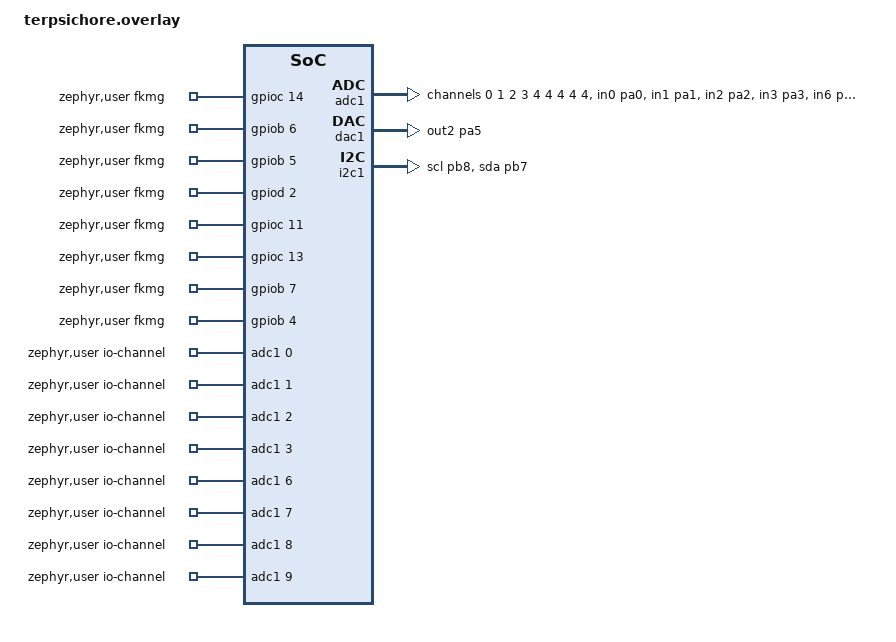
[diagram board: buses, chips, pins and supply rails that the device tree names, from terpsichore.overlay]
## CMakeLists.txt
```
# SPDX-License-Identifier: Apache-2.0

cmake_minimum_required(VERSION 3.20.0)

# Uncomment if you must specify the board here
set(BOARD fkmg_stm32f405)

# Set BOARD_ROOT to the parent directory of the 'boards' folder
list(APPEND BOARD_ROOT "/Users/marcrickenbach/fkmg-dev/Terpsichore")

set(DTC_OVERLAY_FILE "${CMAKE_CURRENT_SOURCE_DIR}/terpsichore.overlay")


find_package(Zephyr REQUIRED HINTS $ENV{ZEPHYR_BASE})

project(TERPSICHORE)

# Optimization flags based on build type
set(CMAKE_BUILD_TYPE Debug CACHE STRING "Choose the type of build.")
if(CMAKE_BUILD_TYPE MATCHES Debug)
    set(CMAKE_C_FLAGS "${CMAKE_C_FLAGS} -O0 -g" CACHE STRING "" FORCE)
elseif(CMAKE_BUILD_TYPE MATCHES Release)
    set(CMAKE_C_FLAGS "${CMAKE_C_FLAGS} -O3" CACHE STRING "" FORCE)
elseif(CMAKE_BUILD_TYPE MATCHES MinSizeRel)
    set(CMAKE_C_FLAGS "${CMAKE_C_FLAGS} -Os" CACHE STRING "" FORCE)
elseif(CMAKE_BUILD_TYPE MATCHES RelWithDebInfo)
    set(CMAKE_C_FLAGS "${CMAKE_C_FLAGS} -O2 -g" CACHE STRING "" FORCE)
endif()

# Explicitly list source files
set(app_sources
    src/main.c
)

target_sources(app PRIVATE ${app_sources})

# Main Include Directory
target_include_directories(app PRIVATE include)
```

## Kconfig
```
mainmenu "TERPSICHORE"

config TERPSICHORE_STM32
  default y
  bool
  select USE_STM32_HAL_I2C
  select USE_STM32_HAL_ADC

source "Kconfig.zephyr"

config TERPSICHORE_STM32
    bool "Enable STM32 LL for My Application"
    default y
    select USE_STM32_LL_I2C
```

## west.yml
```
manifest:
  self:
    west-commands: scripts/west-commands.yml

  remotes:
    - name: zephyrproject-rtos
      url-base: https://github.com/zephyrproject-rtos
    - name: fkmg
      url-base: git@github.com:marcrickenbach

  projects:
    - name: zephyr
      remote: zephyrproject-rtos
      revision: main
      import:
        name-allowlist:
          - hal_nxp
          - hal_stm32
          - cmsis
    - name: dac7578
      url: https://github.com/marcrickenbach/dac7578
      revision: main
      path: modules/fkmg/dac7578
```

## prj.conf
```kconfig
#Development Configs
CONFIG_MAIN_STACK_SIZE=4095
CONFIG_ARM_MPU=y

CONFIG_PINCTRL=y
CONFIG_PRINTK=y

# CONFIG_CONSOLE=y
# CONFIG_UART_CONSOLE=y
# CONFIG_SERIAL=y

CONFIG_LOG=y
CONFIG_LOG_MODE_IMMEDIATE=y
CONFIG_LOG_DEFAULT_LEVEL=4

#Peripheral Configs
CONFIG_ADC=y
CONFIG_GPIO=y
CONFIG_I2C=y
CONFIG_DAC=y
CONFIG_DAC7578=y

# #Zephyr Specific Configs
CONFIG_MULTITHREADING=y
CONFIG_SMF=y
CONFIG_POLL=y
CONFIG_EVENTS=y
```

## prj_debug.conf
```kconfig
# #Development Configs

# CONFIG_CONSOLE=y
# CONFIG_PRINTK=y
# CONFIG_UART_INTERRUPT_DRIVEN=y
# CONFIG_REGULATOR=y

# #Peripheral Configs
# CONFIG_GPIO=y
# CONFIG_COUNTER=y
# # CONFIG_COUNTER_INIT_PRIORITY=50
# CONFIG_COUNTER_TIMER_STM32=y
# # CONFIG_COUNTER_RTC_STM32=y
# CONFIG_ADC=y
# CONFIG_PWM=y
# # CONFIG_DMA=y

# #Transmission Configs
# CONFIG_SPI=y
# CONFIG_SPI_STM32=y
# # CONFIG_SPI_STM32_DMA=y
# # CONFIG_SPI_STM32_USE_HW_SS=n
# CONFIG_SPI_ASYNC=y
# CONFIG_DAC=y


# #Zephyr Specific Configs
# CONFIG_MULTITHREADING=y
# CONFIG_SMF=y
# CONFIG_POLL=y
# CONFIG_EVENTS=y


# CONFIG_DEBUG=y
# CONFIG_ASSERT=y
```

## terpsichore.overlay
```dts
/* TERPSICHORE OVERLAY */

// #include <dt-bindings/clock/stm32f4_clock.h>


/{
    zephyr,user {
        io-channels         =  <&adc1 0>, // CV In 1
                               <&adc1 1>, // CV In 2
                               <&adc1 2>, // CV In 3
                               <&adc1 3>, // CV In 4
                               <&adc1 6>, // CH 1 Pot
                               <&adc1 7>, // CH 2 Pot
                               <&adc1 8>, // CH 3 Pot
                               <&adc1 9>, // CH 4 Pot
                               <&adc1 10>;// Param Pot

        dac = <&dac1>;
		dac-channel-id = <1>;
		dac-resolution = <12>;

        i2c = &i2c1;
        i2c-addr = <0x4C>;

        fkmg-gpios =    <&gpioc 14 GPIO_ACTIVE_HIGH>, // Mode LEDs
                        <&gpiob  6 GPIO_ACTIVE_HIGH>,
                        <&gpiob  5 GPIO_ACTIVE_HIGH>,
                        <&gpiod  2 GPIO_ACTIVE_HIGH>,
                        <&gpioc 11 GPIO_ACTIVE_HIGH>,

                        <&gpioc 13 GPIO_ACTIVE_HIGH>, // Sub LEDs
                        <&gpiob  7 GPIO_ACTIVE_HIGH>,
                        <&gpiob  4 GPIO_ACTIVE_HIGH>,
                        <&gpioc 12 GPIO_ACTIVE_HIGH>,
                        <&gpioc 10 GPIO_ACTIVE_HIGH>,

                        <&gpioc 4 GPIO_ACTIVE_HIGH>, // DAC Switch
                        <&gpiob 8 GPIO_ACTIVE_HIGH>, // Mode Select
                        <&gpiob 9 GPIO_ACTIVE_HIGH>; // Sub Select
    };
};


/****************************************  
 * Disable Nucleo pins for btn and led */

&leds {
    status = "disabled"; 
};

&user_button {
    status = "disabled";
};

/**************************************/

&clk_hse {
	/delete-property/ hse-bypass;
};

&rcc {
    clocks = <&pll>;
    clock-frequency = <DT_FREQ_M(168)>;
    ahb-prescaler = <1>;
    apb1-prescaler = <4>; 
    apb2-prescaler = <2>;
};

/* Highest possible values to get a precise 48MHz clock for the USB on PLLQ. 
 * We could get the clock to 180MHz if we could derive the USB clock from the 
 * PLLSAIP, but Zephyr doesn't yet support this. If we need these extra MHz 
  * revisit this, for now probably ok. 
  */
&pll {
    div-m = <8>;
    mul-n = <336>;
    div-p = <2>;
    div-q = <7>;
    clocks = <&clk_hse>;
    status = "okay";
};

&adc1 {
    pinctrl-0 = <&adc1_in0_pa0
                 &adc1_in1_pa1 
                 &adc1_in2_pa2 
                 &adc1_in3_pa3
                 &adc1_in6_pa6
                 &adc1_in7_pa7
                 &adc1_in8_pb0
                 &adc1_in9_pb1
                 &adc1_in10_pc0>;  
    pinctrl-names = "default";
    st,adc-prescaler = <2>;
    status = "okay";
    #address-cells = <1>;
	#size-cells = <0>;

	channel@0 { // CV In 1
		reg = <0>;
		zephyr,gain = "ADC_GAIN_1";
		zephyr,reference = "ADC_REF_INTERNAL";
		zephyr,acquisition-time = <ADC_ACQ_TIME_DEFAULT>;
		zephyr,resolution = <12>;
	};
    channel@1 { // CV In 1
        reg = <1>;
        zephyr,gain = "ADC_GAIN_1";
        zephyr,reference = "ADC_REF_INTERNAL";
        zephyr,acquisition-time = <ADC_ACQ_TIME_DEFAULT>;
        zephyr,resolution = <12>;
    };
    channel@2 { // CV In 1
        reg = <2>;
        zephyr,gain = "ADC_GAIN_1";
        zephyr,reference = "ADC_REF_INTERNAL";
        zephyr,acquisition-time = <ADC_ACQ_TIME_DEFAULT>;
        zephyr,resolution = <12>;
    };
    channel@3 { // CV In 1
        reg = <3>;
        zephyr,gain = "ADC_GAIN_1";
        zephyr,reference = "ADC_REF_INTERNAL";
        zephyr,acquisition-time = <ADC_ACQ_TIME_DEFAULT>;
        zephyr,resolution = <12>;
    };
    channel@6 {
        reg = <4>;
        zephyr,gain = "ADC_GAIN_1";
        zephyr,reference = "ADC_REF_INTERNAL";
        zephyr,acquisition-time = <ADC_ACQ_TIME_DEFAULT>;
        zephyr,resolution = <8>;
    };
    channel@7 {
        reg = <4>;
        zephyr,gain = "ADC_GAIN_1";
        zephyr,reference = "ADC_REF_INTERNAL";
        zephyr,acquisition-time = <ADC_ACQ_TIME_DEFAULT>;
        zephyr,resolution = <8>;
    };
    channel@8 {
        reg = <4>;
        zephyr,gain = "ADC_GAIN_1";
        zephyr,reference = "ADC_REF_INTERNAL";
        zephyr,acquisition-time = <ADC_ACQ_TIME_DEFAULT>;
        zephyr,resolution = <8>;
    };
    channel@9 {
        reg = <4>;
        zephyr,gain = "ADC_GAIN_1";
        zephyr,reference = "ADC_REF_INTERNAL";
        zephyr,acquisition-time = <ADC_ACQ_TIME_DEFAULT>;
        zephyr,resolution = <8>;
    };
    channel@10 {
        reg = <4>;
        zephyr,gain = "ADC_GAIN_1";
        zephyr,reference = "ADC_REF_INTERNAL";
        zephyr,acquisition-time = <ADC_ACQ_TIME_DEFAULT>;
        zephyr,resolution = <8>;
    };
};

&dac1 {
    pinctrl-0 = <&dac_out2_pa5>;  
    pinctrl-names = "default";
    status = "okay";  
};

&can1 {
    status = "disabled";
};

&can2 {
    status = "disabled";
};

&spi1 {
    // compatible = "st,stm32-spi";
    status = "disabled"; 
    cs-gpios = < &gpioc 4 GPIO_ACTIVE_LOW >;
    pinctrl-0 = <&spi1_mosi_pa7 &spi1_miso_pa6 &spi1_sck_pa5>;
    pinctrl-names = "default";
    clock-frequency = <5625000>;
    label = "SPI1";
    spidev: spi-dev@0 {
        compatible = "zephyr,spi-dev";
        reg = <0>;
    };
};

&i2c1 {
    status = "okay";
    pinctrl-0 = <&i2c1_scl_pb8 &i2c1_sda_pb7>;
    pinctrl-names = "default";
};

&i2c2 {
    status = "disabled";
};

&i2c3 {
    status = "disabled";
};

&dma1 {
    compatible = "st,stm32-dma-v1";
    status="okay";
};

&dma2 {
    compatible = "st,stm32-dma-v1";
    status="okay";
};

&usart1 {
    compatible = "st,stm32-uart";
    // dmas = <&dma2 2 2 0x400 0x03>, <&dma2 2 7 0x400 0x03>;
    // dma-names = "tx";
    // pinctrl-0 = <&usart3_tx_pc10>;
    // pinctrl-names = "default";
    // current-speed = <31250>;
    status = "disabled"; 
};
```

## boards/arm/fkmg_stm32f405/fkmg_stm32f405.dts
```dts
/*
 * Copyright (c) 2024 FKMG Circuits
 *
 * SPDX-License-Identifier: Apache-2.0
 */

 /dts-v1/;
 #include <st/f4/stm32f405Xg.dtsi>
 #include <st/f4/stm32f405rgtx-pinctrl.dtsi>
 #include <zephyr/dt-bindings/input/input-event-codes.h>
 
 / {
	 model = "FKMG STM32F405";
	 compatible = "fkmg,stm32f405", "st,stm32f405";
 
	 chosen {
		 zephyr,console = &usart1;
		 zephyr,shell-uart = &usart1;
		 zephyr,sram = &sram0;
		 zephyr,flash = &flash0;
		 zephyr,ccm = &ccm0;
	 };
 
	 leds {
		 compatible = "gpio-leds";
		 led: led {
			 gpios = <&gpiob 2 GPIO_ACTIVE_HIGH>;
			 label = "User LED";
		 };
	 };
 
	 gpio_keys {
		 compatible = "gpio-keys";
		 user_button: button {
			 label = "User";
			 gpios = <&gpioc 13 (GPIO_PULL_DOWN | GPIO_ACTIVE_HIGH)>;
			 zephyr,code = <INPUT_KEY_0>;
		 };
	 };
 
	 aliases {
		 led0 = &led;
		 sw0 = &user_button;
		 watchdog0 = &iwdg;
		 sdhc0 = &sdmmc1;
	 };
 };
 
 &clk_lsi {
	 status = "okay";
 };
 
 &clk_hse {
	 clock-frequency = <DT_FREQ_M(8)>;
	 status = "okay";
 };
 
 &pll {
	 div-m = <8>;
	 mul-n = <336>;
	 div-p = <2>;
	 div-q = <7>;
	 clocks = <&clk_hse>;
	 status = "okay";
 };
 
 &rcc {
	 clocks = <&pll>;
	 clock-frequency = <DT_FREQ_M(168)>;
	 ahb-prescaler = <1>;
	 apb1-prescaler = <4>;
	 apb2-prescaler = <2>;
 };
 
 &usart1 {
	 pinctrl-0 = <&usart1_tx_pa9 &usart1_rx_pa10>;
	 pinctrl-names = "default";
	 current-speed = <115200>;
	 status = "okay";
 };
 
 &usart2 {
	 pinctrl-0 = <&usart2_tx_pa2 &usart2_rx_pa3>;
	 pinctrl-names = "default";
	 current-speed = <115200>;
	 status = "okay";
 };
 
 &i2c1 {
	 pinctrl-0 = <&i2c1_scl_pb6 &i2c1_sda_pb7>;
	 pinctrl-names = "default";
	 status = "okay";
	 clock-frequency = <I2C_BITRATE_FAST>;
 };
 
 &spi1 {
	 pinctrl-0 = <&spi1_sck_pa5 &spi1_miso_pa6 &spi1_mosi_pa7>;
	 pinctrl-names = "default";
	 status = "okay";
 };
 
 &can1 {
	 pinctrl-0 = <&can1_rx_pb8 &can1_tx_pb9>;
	 pinctrl-names = "default";
	 status = "okay";
 };
 
 &sdmmc1 {
	 status = "okay";
	 pinctrl-0 = <&sdio_d0_pc8 &sdio_d1_pc9
			  &sdio_d2_pc10 &sdio_d3_pc11
			  &sdio_ck_pc12 &sdio_cmd_pd2>;
	 pinctrl-names = "default";
	 cd-gpios = <&gpioa 8 (GPIO_ACTIVE_HIGH | GPIO_PULL_UP)>;
 };
 
 &rtc {
	 clocks = <&rcc STM32_CLOCK_BUS_APB1 0x10000000>,
		  <&rcc STM32_SRC_LSI RTC_SEL(2)>;
	 status = "okay";
 };
 
 zephyr_udc0: &usbotg_fs {
	 pinctrl-0 = <&usb_otg_fs_dm_pa11 &usb_otg_fs_dp_pa12>;
	 pinctrl-names = "default";
	 status = "okay";
 };
 
 &iwdg {
	 status = "okay";
 };
 
 &backup_sram {
	 status = "okay";
 };
```

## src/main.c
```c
/* *****************************************************************************
 * Includes
 */

#include <zephyr/kernel.h>
#include <zephyr/drivers/gpio.h>
#include <zephyr/drivers/counter.h>
#include <zephyr/drivers/dac.h>
#include <zephyr/device.h>
#include <zephyr/devicetree.h>

#include <assert.h>
#include <string.h>


/* *****************************************************************************
 * Debugging
 */
#include <zephyr/logging/log.h>
LOG_MODULE_REGISTER(main);

/* *****************************************************************************
 * Defines
 */

/* Error if took longer than this to initialize. */
#define WAIT_MAX_MSECS_FOR_INITIALIZATION 50

/* Enable Thread Defines. */

#define CONFIG_FKMG_IO_CTRL_DAC_THREAD      0

/* *****************************************************************************
 * Threads
 */
/* FKMG IO CONTROL THREADS. */

#if CONFIG_FKMG_IO_CTRL_DAC_THREAD
    /* Declare threads, queues, and other data structures for fkmg io dac instance. */
    static struct k_thread fkmg_io_ctrl_dac_thread;
    #define FKMG_IO_CTRL_DAC_THREAD_STACK_SZ_BYTES   1024
    K_THREAD_STACK_DEFINE(fkmg_io_ctrl_dac_thread_stack, FKMG_IO_CTRL_DAC_THREAD_STACK_SZ_BYTES);
    #define MAX_QUEUED_FKMG_IO_CTRL_DAC_SM_EVTS  10
    #define FKMG_IO_CTRL_DAC_SM_QUEUE_ALIGNMENT  4
    K_MSGQ_DEFINE(fkmg_io_ctrl_dac_sm_evt_q, sizeof(struct FKMG_IO_CTRL_DAC_SM_Evt),
            MAX_QUEUED_FKMG_IO_CTRL_DAC_SM_EVTS, FKMG_IO_CTRL_DAC_SM_QUEUE_ALIGNMENT);
    static struct FKMG_IO_CTRL_DAC_Instance fkmg_io_ctrl_dac_inst;
#endif

/* *****************************************************************************
 * Listeners
 */

#if 0
static struct Pot_Listener midi_rcvd_listener;
#endif

/* *****************************************************************************
 * Kernel Events
 *
 * Zephyr low-overhead kernel way for threads to wait on and post asynchronous
 * events.
 */

/* For handling asynchronous callbacks. */
K_EVENT_DEFINE(events);
#define EVT_FLAG_INSTANCE_INITIALIZED   (1 << 0)



/* *****************************************************************************
 * Private Functions.
 */

/* ********************
 * ON LISTENER INITS
 * ********************/
// static void on_fkmg_io_ctrl_adc_converted(struct FKMG_IO_CTRL_ADC_Evt *p_evt)
// {
//     assert(p_evt->sig == k_FKMG_IO_CTRL_ADC_Evt_Sig_Converted);
//     /* Broadcast to where-ever. */
// }


/* ********************
 * ON INSTANCE INITS
 * ********************/

#if CONFIG_FKMG_IO_CTRL_DAC_THREAD
    static void on_fkmg_io_ctrl_dac_instance_initialized(struct FKMG_IO_CTRL_DAC_Evt *p_evt)
    {
        assert(p_evt->sig == k_FKMG_IO_CTRL_DAC_Evt_Sig_Instance_Initialized);
        assert(p_evt->data.initd.p_inst == &fkmg_io_ctrl_dac_inst);
        k_event_post(&events, EVT_FLAG_INSTANCE_INITIALIZED);
    }
#endif

/* ********************
 * WAIT ON INSTANCE INIT
 * ********************/

static void wait_on_instance_initialized(void)
{
	uint32_t events_rcvd = k_event_wait(&events, EVT_FLAG_INSTANCE_INITIALIZED,
		true, K_MSEC(WAIT_MAX_MSECS_FOR_INITIALIZATION));
	assert(events_rcvd == EVT_FLAG_INSTANCE_INITIALIZED);
}


/* *****************************************************************************
 * Public.
 */




int main(void) {
    int ret;
/*  
    const struct device *dac_dev = DEVICE_DT_GET(DT_NODELABEL(dac7578));

  if (!device_is_ready(dac_dev)) {
        printk("DAC7578 device not ready\n");
        return 0;
    }

    printk("DAC7578 device ready\n");
    return 0;


    // Initialize the DAC
    ret = dac7578_init();
    if (ret != 0) {
        printk("Failed to initialize DAC7578\n");
        return ret;
    }

    while(1) {
        static int v = 0; 

        for (int i = 0; i < 8; i++) {
            // Write to DAC
            ret = dac7578_write(i, 0);
            if (ret != 0) {
                printk("Failed to write to DAC7578\n");
                return ret;
            }
            k_sleep(K_MSEC(2));
        }

        // v += 250; 
        // if (v > 4095) {
        //     v = 0;
        // }
    }
*/




/* FKMG I/O Control Driver Initialization*/
#if CONFIG_FKMG_IO_CTRL_DAC_THREAD
/* Instance: DAC */
    struct FKMG_IO_CTRL_DAC_Instance_Cfg fkmg_io_ctrl_dac_inst_cfg = {
        .p_inst = &fkmg_io_ctrl_dac_inst,
        .task.sm.p_thread = &fkmg_io_ctrl_dac_inst,
        .task.sm.p_stack = fkmg_io_ctrl_dac_thread_stack,
        .task.sm.stack_sz = K_THREAD_STACK_SIZEOF(fkmg_io_ctrl_dac_thread_stack),
        .task.sm.prio = K_LOWEST_APPLICATION_THREAD_PRIO,
        .msgq.p_sm_evts = &fkmg_io_ctrl_dac_sm_evt_q,
        .cb = on_fkmg_io_ctrl_dac_instance_initialized,
    };
    FKMG_IO_CTRL_DAC_Init_Instance(&fkmg_io_ctrl_dac_inst_cfg);
    wait_on_instance_initialized();
#endif

};
```

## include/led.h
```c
/*******************************************************************************
 * @brief LED interface.
 *
 * This module is the public api to interface with leds.
 *
 * @example
 */

#ifndef FKMG_LED_H
#define FKMG_LED_H

/* In case C++ needs to use anything here */
#ifdef __cplusplus
extern “C” {
#endif

/* *****************************************************************************
 * Includes
 */

#include <zephyr/kernel.h>

#include "led/instance.h"
#include "led/instance_cfg.h"
#include "led/listener.h"
#include "led/listener_cfg.h"


/* *****************************************************************************
 * Structs
 */


/* *****************************************************************************
 * Public
 */


/**
 * Initialize an instance. An instance contains everything required to declare
 * and define all the data/memory for threads, queues, etc., that runs the the
 * engine. Even though it might be possible to have multiple instances,
 * typically only one is required.
 * @param[in] p_cfg Pointer to the filled-in configuration struct. See the
 * struct for details.
 */
void LED_Init_Instance(struct LED_Instance_Cfg * p_cfg);

/**
 * Deinitialize an instance.
 * @param[in] p_dcfg Pointer to the filled-in deconfiguration struct. See the
 * struct for details.
 */
#if CONFIG_FKMG_LED_ALLOW_SHUTDOWN
void LED_Deinit_Instance(struct LED_Instance_Dcfg * p_dcfg);
#endif

/**
 * Add an event signal listener to an interface.
 * @param[in] p_cfg Pointer to the filled-in configuration struct. See the
 * struct for details.
 */
void LED_Add_Listener(struct LED_Listener_Cfg * p_cfg);


void LED_Write_Modes(struct LED_Instance * p_inst, enum LED_Id row, uint8_t val); 

#if CONFIG_FKMG_LED_ALLOW_LISTENER_REMOVAL
void LED_Remove_Listener(struct LED_Listener * p_lsnr);
#endif

#ifdef __cplusplus
}
#endif

#endif /* FKMG_LED_H */
```

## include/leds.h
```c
/*******************************************************************************
 * @brief LED interface.
 *
 * This module is the public api to interface with leds.
 *
 * @example
 */

#ifndef FKMG_LED_H
#define FKMG_LED_H

/* In case C++ needs to use anything here */
#ifdef __cplusplus
extern “C” {
#endif

/* *****************************************************************************
 * Includes
 */

#include <zephyr/kernel.h>

#include "terpsichore/leds/instance.h"
#include "terpsichore/leds/instance_cfg.h"
#include "terpsichore/leds/listener.h"
#include "terpsichore/leds/listener_cfg.h"


/* *****************************************************************************
 * Structs
 */


/* *****************************************************************************
 * Public
 */


/**
 * Initialize an instance. An instance contains everything required to declare
 * and define all the data/memory for threads, queues, etc., that runs the the
 * engine. Even though it might be possible to have multiple instances,
 * typically only one is required.
 * @param[in] p_cfg Pointer to the filled-in configuration struct. See the
 * struct for details.
 */
void LED_Init_Instance(struct LED_Instance_Cfg * p_cfg);

/**
 * Deinitialize an instance.
 * @param[in] p_dcfg Pointer to the filled-in deconfiguration struct. See the
 * struct for details.
 */
#if CONFIG_FKMG_LED_ALLOW_SHUTDOWN
void LED_Deinit_Instance(struct LED_Instance_Dcfg * p_dcfg);
#endif

/**
 * Add an event signal listener to an interface.
 * @param[in] p_cfg Pointer to the filled-in configuration struct. See the
 * struct for details.
 */
void LED_Add_Listener(struct LED_Listener_Cfg * p_cfg);


void LED_Write_Modes(struct LED_Instance * p_inst, enum LED_Id row, uint8_t val); 

#if CONFIG_FKMG_LED_ALLOW_LISTENER_REMOVAL
void LED_Remove_Listener(struct LED_Listener * p_lsnr);
#endif

#ifdef __cplusplus
}
#endif

#endif /* FKMG_LED_H */
```

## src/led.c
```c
/* *****************************************************************************
 * @brief LED implementation.
 * 
 */


/* *****************************************************************************
 * Includes
 */

#include "led.h"
#include <zephyr/smf.h>
#include <zephyr/kernel.h>
#include <zephyr/drivers/adc.h>
#include <zephyr/drivers/gpio.h>
#include <assert.h>
#include <stdlib.h>
#include "led/private/sm_evt.h"
#include "led/private/module_data.h"

/* *****************************************************************************
 * Constants, Defines, and Macros
 */

#define SUCCESS (0)
#define FAIL    (-1)

#define LED_PINS               DT_PATH(zephyr_user)
#define MODE_BITS              5
#define SUB_BITS               5
#define MODE_MAX               (1 << MODE_BITS)
/* *****************************************************************************
 * Debugging
 */

#if CONFIG_FKMG_LED_NO_OPTIMIZATIONS
#pragma GCC push_options
#pragma GCC optimize ("Og")
#warning "led.c unoptimized!"
#endif

#include <zephyr/logging/log.h>
LOG_MODULE_REGISTER(led);

/* *****************************************************************************
 * Structs
 */

static struct led_module_data led_md = {0};
#define md led_md

#if !defined(ARRAY_SIZE)
#define ARRAY_SIZE(arr) (sizeof(arr) / sizeof((arr)[0]))
#endif

#define DT_SPEC_AND_COMMA(node_id, prop, idx) \
	GPIO_DT_SPEC_GET_BY_IDX(node_id, prop, idx),

/** LED ARRAY */
static const struct gpio_dt_spec led_pins[] = {
    DT_FOREACH_PROP_ELEM(LED_PINS, led_gpios, DT_SPEC_AND_COMMA)
};

/* *****************************************************************************
 * Private
 */

/* *****
 * Utils
 * *****/

static bool instance_contains_state_machine_ctx(
        struct LED_Instance * p_inst,
        struct smf_ctx      * p_sm_ctx)
{
    return(&p_inst->sm == p_sm_ctx);
}

/* Find the instance that contains the state machine context. */
static struct LED_Instance * sm_ctx_to_instance(struct smf_ctx * p_sm_ctx)
{
    /* Iterate thru the instances. */
    struct LED_Instance * p_inst = NULL;
    SYS_SLIST_FOR_EACH_CONTAINER(&md.list.instances, p_inst, node.instance){
        if(instance_contains_state_machine_ctx(p_inst, p_sm_ctx)) return p_inst;
    }
    return(NULL);
}


/* **************
 * Listener Utils
 * **************/

static void clear_listener(struct LED_Listener * p_lsnr)
{
    memset(p_lsnr, 0, sizeof(*p_lsnr));
}

static void config_listener(
        struct LED_Listener     * p_lsnr,
        struct LED_Listener_Cfg * p_cfg)
{
    /* Set listner's instance it is listening to. */
    p_lsnr->p_inst = p_cfg->p_inst;

    /* Set listner's callback. */ 
    p_lsnr->cb = p_cfg->cb;
}

static void init_listener(struct LED_Listener * p_lsnr)
{
    clear_listener(p_lsnr);
}

/* **************
 * Instance Utils
 * **************/

static void add_instance_to_instances(
        struct LED_Instance  * p_inst)
{
    sys_slist_append(&md.list.instances, &p_inst->node.instance);
}

static void config_instance_queues(
        struct LED_Instance     * p_inst,
        struct LED_Instance_Cfg * p_cfg)
{
    p_inst->msgq.p_sm_evts = p_cfg->msgq.p_sm_evts;
}

static void config_instance_deferred(
        struct LED_Instance     * p_inst,
        struct LED_Instance_Cfg * p_cfg)
{
}

/* Since configuration starts on caller's thread, configure fields that require
 * immediate and/or inconsequential configuration and defer rest to be handled
 * by our own thread later. */
static void config_instance_immediate(
        struct LED_Instance     * p_inst,
        struct LED_Instance_Cfg * p_cfg)
{
    config_instance_queues(p_inst, p_cfg);
}

static void init_instance_lists(struct LED_Instance * p_inst)
{
    for(enum LED_Evt_Sig sig = k_LED_Evt_Sig_Beg;
                         sig < k_LED_Evt_Sig_End;
                         sig++){
        sys_slist_init(&p_inst->list.listeners[sig]);
    }
}

static void clear_instance(struct LED_Instance * p_inst)
{
    memset(p_inst, 0, sizeof(*p_inst));
}

static void init_instance(struct LED_Instance * p_inst)
{
    clear_instance(p_inst);
    init_instance_lists(p_inst);
}


/* ************
 * Module Utils
 * ************/

static void init_module_lists(void)
{
    sys_slist_init(&md.list.instances);
}

static void clear_module(void)
{
    memset(&md, 0, sizeof(md));
}

static void init_module(void)
{
    if(md.initialized) return;
    clear_module();
    init_module_lists();
    md.initialized = true;
}

/* ************
 * Broadcasting
 * ************/

static void broadcast(
        struct LED_Evt      * p_evt,
        struct LED_Listener * p_lsnr)
{
    /* call the listener, passing the event */
    if(p_lsnr->cb)  p_lsnr->cb(p_evt);
}

static void broadcast_event_to_listeners(
        struct LED_Instance * p_inst,
        struct LED_Evt      * p_evt)
{
    enum LED_Evt_Sig sig = p_evt->sig;
    struct LED_Listener * p_lsnr = NULL;
    SYS_SLIST_FOR_EACH_CONTAINER(&p_inst->list.listeners[sig], p_lsnr, node.listener){
         broadcast(p_evt, p_lsnr);
    }
}

/* There's only 1 listener for instance initialization, and it is provided in
 * the cfg struct. */
static void broadcast_instance_initialized(
        struct LED_Instance * p_inst,
        LED_Listener_Cb       cb)
{
    struct LED_Evt evt = {
            .sig = k_LED_Evt_Sig_Instance_Initialized,
            .data.initd.p_inst = p_inst
    };

    struct LED_Listener lsnr = {
        .p_inst = p_inst,
        .cb = cb
    };

    broadcast(&evt, &lsnr);
}


static void broadcast_led_changed(
        struct LED_Instance * p_inst,
        enum LED_Id           id,
        uint16_t              val)
{

    struct LED_Evt evt = {
            .sig = k_LED_Evt_Sig_Changed,
            .data.changed.id = id,
            .data.changed.val = val
    };

    broadcast_event_to_listeners(p_inst, &evt);

}

/* **************
 * Listener Utils
 * **************/

static void add_listener_for_signal_to_listener_list(
    struct LED_Listener_Cfg * p_cfg)
{
    /* Get pointer to interface to add listener to. */
    struct LED_Instance * p_inst = p_cfg->p_inst;

    /* Get pointer to configured listener. */
    struct LED_Listener * p_lsnr = p_cfg->p_lsnr;

    /* Get signal to listen for. */
    enum LED_Evt_Sig sig = p_cfg->sig;

    /* Add listener to instance's specified signal. */
    sys_slist_t * p_list = &p_inst->list.listeners[sig];
    sys_snode_t * p_node = &p_lsnr->node.listener;
    sys_slist_append(p_list, p_node);
}



/* **************
 * Event Queueing
 * **************/

static void q_sm_event(struct LED_Instance * p_inst, struct LED_SM_Evt * p_evt)
{
    bool queued = k_msgq_put(p_inst->msgq.p_sm_evts, p_evt, K_NO_WAIT) == 0;

    if(!queued) assert(false);
}

static void q_init_instance_event(struct LED_Instance_Cfg * p_cfg)
{
    struct LED_SM_Evt evt = {
            .sig = k_LED_SM_Evt_Sig_Init_Instance,
            .data.init_inst.cfg = *p_cfg
    };
    struct LED_Instance * p_inst = p_cfg->p_inst;

    q_sm_event(p_inst, &evt);
}

static int LED_Array_Init(struct LED_Instance *p_inst) 
{
    int ret = -1; 
    for (int i = 0; i < ARRAY_SIZE(led_pins); i++) {
        
        if(!device_is_ready(led_pins[i].port)){
            LOG_ERR("Device %s not ready\n", led_pins[i].port->name);
            return ret;
        }

        gpio_pin_configure(led_pins[i].port, led_pins[i].pin, GPIO_OUTPUT | GPIO_PULL_DOWN);
    }
    return ret = 0; 
}


/* **********
 * FSM States
 * **********/

/* Forward declaration of state table */
static const struct smf_state states[];

enum state{
    init,   // Init instance - should only occur once, after thread start
    run,    // Run - handles all events while running (e.g. conversion, etc.)
    deinit, // Deinit instance - should only occur once, after deinit event
            // (if implemented)
};


/* Init state responsibility is to complete initialization of the instance, let
 * an instance config listener know we've completed initialization (i.e. thread
 * is up and running), and then transition to next state. Init state occurs
 * immediately after thread start and is expected to only occur once. */

static void state_init_run(void * o)
{
    struct smf_ctx * p_sm = o;
    struct LED_Instance * p_inst = sm_ctx_to_instance(p_sm);

    /* Get the event. */
    struct LED_SM_Evt * p_evt = &p_inst->sm_evt;

    /* Expecting only an "init instance" event. Anything else is an error. */
    assert(p_evt->sig == k_LED_SM_Evt_Sig_Init_Instance);

    /* We init'd required params on the caller's thread (i.e.
     * LED_Init_Instance()), now finish the job. Since this is an
     * Init_Instance event the data contains the intance cfg. */
    struct LED_SM_Evt_Sig_Init_Instance * p_ii = &p_evt->data.init_inst;
    
    config_instance_deferred(p_inst, &p_ii->cfg);
    broadcast_instance_initialized(p_inst, p_ii->cfg.cb);

    LED_Array_Init(p_inst);

    smf_set_state(SMF_CTX(p_sm), &states[run]);
}

/* Run state responsibility is to be the root state to handle everything else
 * other than instance initialization. */

static void state_run_entry(void * o)
{
    struct smf_ctx * p_sm = o;
    struct LED_Instance * p_inst = sm_ctx_to_instance(p_sm);
}

static void state_run_run(void * o)
{
    struct smf_ctx * p_sm = o;
    struct LED_Instance * p_inst = sm_ctx_to_instance(p_sm);

    /* Get the event. */
    struct LED_SM_Evt * p_evt = &p_inst->sm_evt;

    switch(p_evt->sig){
        default: break;
        case k_LED_SM_Evt_Sig_Init_Instance:
            /* Should never occur. */
            assert(false);
            break;
        case k_LED_SM_Evt_Sig_Write:
            
            struct LED_SM_Evt_Sig_Write * p_convert = &p_evt->data.write;

            /* Write the value to the LED. */
            if (p_convert->row == Mode) {

                for (int i = 0; i < MODE_BITS; i++) 
                {
                    bool state = (p_convert->val >> i) & 1;
                    gpio_pin_set(led_pins[i].port, led_pins[i].pin, state);
                }

            } else {
                for (int k = SUB_BITS; k < ARRAY_SIZE(led_pins); k++) 
                {
                    bool state = (p_convert->val >> k) & 1;
                    gpio_pin_set(led_pins[k].port, led_pins[k].pin, state);
                }
            }
            break;
    }
}

static const struct smf_state states[] = {
    /*                                      entry               run  exit */
    [  init] = SMF_CREATE_STATE(           NULL,   state_init_run, NULL, NULL, NULL),
    [   run] = SMF_CREATE_STATE(state_run_entry,    state_run_run, NULL, NULL, NULL),
};

/* ******
 * Thread
 * ******/

static void thread(void * p_1, /* struct LED_Instance* */
        void * p_2_unused, void * p_3_unused)
{
    struct LED_Instance * p_inst = p_1;
    /* NOTE: smf_set_initial() executes the entry state. */
    struct smf_ctx * p_sm = &p_inst->sm;
    smf_set_initial(SMF_CTX(p_sm), &states[init]);

    /* Get the state machine event queue and point to where to put the dequeued
     * event. */
    struct k_msgq * p_msgq = p_inst->msgq.p_sm_evts;
    struct LED_SM_Evt * p_evt = &p_inst->sm_evt;

    bool run = true;

    while(run){
        /* Wait on state machine event. Cache it then run state machine. */
        k_msgq_get(p_msgq, p_evt, K_FOREVER);
        run = smf_run_state(SMF_CTX(p_sm)) == 0;
    }
}

static void start_thread(
        struct LED_Instance     * p_inst,
        struct LED_Instance_Cfg * p_cfg)
{
    struct k_thread  * p_thread = p_cfg->task.sm.p_thread;
    k_thread_stack_t * p_stack  = p_cfg->task.sm.p_stack;
    size_t stack_sz_bytes = p_cfg->task.sm.stack_sz;
    int prio = p_cfg->task.sm.prio;

    /* Start the state machine thread. */
    p_inst->task.sm.p_thread = k_thread_create(
        p_thread,       // ptr to uninitialized struct k_thread
        p_stack,        // ptr to the stack space
        stack_sz_bytes, // stack size in bytes
        thread,         // thread entry function
        p_inst,         // 1st entry point parameter
        NULL,           // 2nd entry point parameter
        NULL,           // 3rd entry point parameter
        prio,           // thread priority 
        0,              // thread options
        K_NO_WAIT);     // scheduling delay
    assert(p_inst->task.sm.p_thread == p_thread);
}

/* *****************************************************************************
 * Public
 */

void LED_Init_Instance(struct LED_Instance_Cfg * p_cfg)
{
    /* Get pointer to instance to configure. */
    struct LED_Instance * p_inst = p_cfg->p_inst;

    init_module();
    init_instance(p_inst);
    config_instance_immediate(p_inst, p_cfg);
    add_instance_to_instances(p_inst);
    start_thread(p_inst, p_cfg);
    q_init_instance_event(p_cfg);
}

void LED_Add_Listener(struct LED_Listener_Cfg * p_cfg)
{
    struct LED_Listener * p_lsnr = p_cfg->p_lsnr;
    init_listener(p_lsnr);
    config_listener(p_lsnr, p_cfg);
    add_listener_for_signal_to_listener_list(p_cfg);
}

void LED_Write_Modes(struct LED_Instance * p_inst, enum LED_Id row, uint8_t val)
{
    if(val > MODE_MAX || row >= k_LED_Id_End) return;

    struct LED_SM_Evt evt = {
            .sig = k_LED_SM_Evt_Sig_Write,
            .data.write.row = row,
            .data.write.val = val
    };
    q_sm_event(p_inst, &evt);
}

#if CONFIG_FKMG_POT_NO_OPTIMIZATIONS
#pragma GCC pop_options
#endif
```

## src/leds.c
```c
/* *****************************************************************************
 * @brief LED implementation.
 * 
 */


/* *****************************************************************************
 * Includes
 */

#include "leds.h"
#include <zephyr/smf.h>
#include <zephyr/kernel.h>
#include <assert.h>
#include <stdlib.h>
#include "terpsichore/leds/private/sm_evt.h"
#include "terpsichore/leds/private/module_data.h"

/* *****************************************************************************
 * Constants, Defines, and Macros
 */

#define SUCCESS (0)
#define FAIL    (-1)

#define MODE_BITS              5
#define SUB_BITS               5
#define MODE_MAX               (1 << MODE_BITS)
/* *****************************************************************************
 * Debugging
 */

#if CONFIG_FKMG_LED_NO_OPTIMIZATIONS
#pragma GCC push_options
#pragma GCC optimize ("Og")
#warning "led.c unoptimized!"
#endif

#include <zephyr/logging/log.h>
LOG_MODULE_REGISTER(leds);

/* *****************************************************************************
 * Structs
 */

static struct led_module_data led_md = {0};
#define md led_md

/* *****************************************************************************
 * Private
 */

/* *****
 * Utils
 * *****/

static bool instance_contains_state_machine_ctx(
        struct LED_Instance * p_inst,
        struct smf_ctx      * p_sm_ctx)
{
    return(&p_inst->sm == p_sm_ctx);
}

/* Find the instance that contains the state machine context. */
static struct LED_Instance * sm_ctx_to_instance(struct smf_ctx * p_sm_ctx)
{
    /* Iterate thru the instances. */
    struct LED_Instance * p_inst = NULL;
    SYS_SLIST_FOR_EACH_CONTAINER(&md.list.instances, p_inst, node.instance){
        if(instance_contains_state_machine_ctx(p_inst, p_sm_ctx)) return p_inst;
    }
    return(NULL);
}


/* **************
 * Listener Utils
 * **************/

static void clear_listener(struct LED_Listener * p_lsnr)
{
    memset(p_lsnr, 0, sizeof(*p_lsnr));
}

static void config_listener(
        struct LED_Listener     * p_lsnr,
        struct LED_Listener_Cfg * p_cfg)
{
    /* Set listner's instance it is listening to. */
    p_lsnr->p_inst = p_cfg->p_inst;

    /* Set listner's callback. */ 
    p_lsnr->cb = p_cfg->cb;
}

static void init_listener(struct LED_Listener * p_lsnr)
{
    clear_listener(p_lsnr);
}

/* **************
 * Instance Utils
 * **************/

static void add_instance_to_instances(
        struct LED_Instance  * p_inst)
{
    sys_slist_append(&md.list.instances, &p_inst->node.instance);
}

static void config_instance_queues(
        struct LED_Instance     * p_inst,
        struct LED_Instance_Cfg * p_cfg)
{
    p_inst->msgq.p_sm_evts = p_cfg->msgq.p_sm_evts;
}

static void config_instance_deferred(
        struct LED_Instance     * p_inst,
        struct LED_Instance_Cfg * p_cfg)
{
}

/* Since configuration starts on caller's thread, configure fields that require
 * immediate and/or inconsequential configuration and defer rest to be handled
 * by our own thread later. */
static void config_instance_immediate(
        struct LED_Instance     * p_inst,
        struct LED_Instance_Cfg * p_cfg)
{
    config_instance_queues(p_inst, p_cfg);
}

static void init_instance_lists(struct LED_Instance * p_inst)
{
    for(enum LED_Evt_Sig sig = k_LED_Evt_Sig_Beg;
                         sig < k_LED_Evt_Sig_End;
                         sig++){
        sys_slist_init(&p_inst->list.listeners[sig]);
    }
}

static void clear_instance(struct LED_Instance * p_inst)
{
    memset(p_inst, 0, sizeof(*p_inst));
}

static void init_instance(struct LED_Instance * p_inst)
{
    clear_instance(p_inst);
    init_instance_lists(p_inst);
}


/* ************
 * Module Utils
 * ************/

static void init_module_lists(void)
{
    sys_slist_init(&md.list.instances);
}

static void clear_module(void)
{
    memset(&md, 0, sizeof(md));
}

static void init_module(void)
{
    if(md.initialized) return;
    clear_module();
    init_module_lists();
    md.initialized = true;
}

/* ************
 * Broadcasting
 * ************/

static void broadcast(
        struct LED_Evt      * p_evt,
        struct LED_Listener * p_lsnr)
{
    /* call the listener, passing the event */
    if(p_lsnr->cb)  p_lsnr->cb(p_evt);
}

static void broadcast_event_to_listeners(
        struct LED_Instance * p_inst,
        struct LED_Evt      * p_evt)
{
    enum LED_Evt_Sig sig = p_evt->sig;
    struct LED_Listener * p_lsnr = NULL;
    SYS_SLIST_FOR_EACH_CONTAINER(&p_inst->list.listeners[sig], p_lsnr, node.listener){
         broadcast(p_evt, p_lsnr);
    }
}

/* There's only 1 listener for instance initialization, and it is provided in
 * the cfg struct. */
static void broadcast_instance_initialized(
        struct LED_Instance * p_inst,
        LED_Listener_Cb       cb)
{
    struct LED_Evt evt = {
            .sig = k_LED_Evt_Sig_Instance_Initialized,
            .data.initd.p_inst = p_inst
    };

    struct LED_Listener lsnr = {
        .p_inst = p_inst,
        .cb = cb
    };

    broadcast(&evt, &lsnr);
}


static void broadcast_led_changed(
        struct LED_Instance * p_inst,
        enum LED_Id           id,
        uint16_t              val)
{

    struct LED_Evt evt = {
            .sig = k_LED_Evt_Sig_Changed,
            .data.changed.id = id,
            .data.changed.val = val
    };

    broadcast_event_to_listeners(p_inst, &evt);

}

/* **************
 * Listener Utils
 * **************/

static void add_listener_for_signal_to_listener_list(
    struct LED_Listener_Cfg * p_cfg)
{
    /* Get pointer to interface to add listener to. */
    struct LED_Instance * p_inst = p_cfg->p_inst;

    /* Get pointer to configured listener. */
    struct LED_Listener * p_lsnr = p_cfg->p_lsnr;

    /* Get signal to listen for. */
    enum LED_Evt_Sig sig = p_cfg->sig;

    /* Add listener to instance's specified signal. */
    sys_slist_t * p_list = &p_inst->list.listeners[sig];
    sys_snode_t * p_node = &p_lsnr->node.listener;
    sys_slist_append(p_list, p_node);
}



/* **************
 * Event Queueing
 * **************/

static void q_sm_event(struct LED_Instance * p_inst, struct LED_SM_Evt * p_evt)
{
    bool queued = k_msgq_put(p_inst->msgq.p_sm_evts, p_evt, K_NO_WAIT) == 0;

    if(!queued) assert(false);
}

static void q_init_instance_event(struct LED_Instance_Cfg * p_cfg)
{
    struct LED_SM_Evt evt = {
            .sig = k_LED_SM_Evt_Sig_Init_Instance,
            .data.init_inst.cfg = *p_cfg
    };
    struct LED_Instance * p_inst = p_cfg->p_inst;

    q_sm_event(p_inst, &evt);
}



/* **********
 * FSM States
 * **********/

/* Forward declaration of state table */
static const struct smf_state states[];

enum state{
    init,   // Init instance - should only occur once, after thread start
    run,    // Run - handles all events while running (e.g. conversion, etc.)
    deinit, // Deinit instance - should only occur once, after deinit event
            // (if implemented)
};


/* Init state responsibility is to complete initialization of the instance, let
 * an instance config listener know we've completed initialization (i.e. thread
 * is up and running), and then transition to next state. Init state occurs
 * immediately after thread start and is expected to only occur once. */

static void state_init_run(void * o)
{
    struct smf_ctx * p_sm = o;
    struct LED_Instance * p_inst = sm_ctx_to_instance(p_sm);

    /* Get the event. */
    struct LED_SM_Evt * p_evt = &p_inst->sm_evt;

    /* Expecting only an "init instance" event. Anything else is an error. */
    assert(p_evt->sig == k_LED_SM_Evt_Sig_Init_Instance);

    /* We init'd required params on the caller's thread (i.e.
     * LED_Init_Instance()), now finish the job. Since this is an
     * Init_Instance event the data contains the intance cfg. */
    struct LED_SM_Evt_Sig_Init_Instance * p_ii = &p_evt->data.init_inst;
    
    config_instance_deferred(p_inst, &p_ii->cfg);
    broadcast_instance_initialized(p_inst, p_ii->cfg.cb);

    smf_set_state(SMF_CTX(p_sm), &states[run]);
}

/* Run state responsibility is to be the root state to handle everything else
 * other than instance initialization. */

static void state_run_entry(void * o)
{
    struct smf_ctx * p_sm = o;
    struct LED_Instance * p_inst = sm_ctx_to_instance(p_sm);
}

static void state_run_run(void * o)
{
    struct smf_ctx * p_sm = o;
    struct LED_Instance * p_inst = sm_ctx_to_instance(p_sm);

    /* Get the event. */
    struct LED_SM_Evt * p_evt = &p_inst->sm_evt;

    switch(p_evt->sig){
        default: break;
        case k_LED_SM_Evt_Sig_Init_Instance:
            /* Should never occur. */
            assert(false);
            break;
        case k_LED_SM_Evt_Sig_Write:
            
            struct LED_SM_Evt_Sig_Write * p_convert = &p_evt->data.write;

            /* Write the value to the LED row. Since we're dealing with
             * five leds per row, and once in a mode we'll only be dealing
             * with one or the other, there are split into two groups and
             * we queue all led writes.*/
            
            if (p_convert->row == k_LED_Id_Min) {

                for (int i = 0; i < k_LED_Id_Cnt - MODE_BITS; i++) 
                {
                    bool state = (p_convert->val >> i) & 1;
                    FKMG_IO_CTRL_GPIO_Write_State(p_inst->id, i, state);
                }

            } else {
                for (int k = SUB_BITS; k < k_LED_Id_Cnt; k++) 
                {
                    bool state = (p_convert->val >> k) & 1;
                    FKMG_IO_CTRL_GPIO_Write_State(p_inst->id, k, state);
                }
            }
            
            break;
    }
}

static const struct smf_state states[] = {
    /*                                      entry               run  exit */
    [  init] = SMF_CREATE_STATE(           NULL,   state_init_run, NULL, NULL, NULL),
    [   run] = SMF_CREATE_STATE(state_run_entry,    state_run_run, NULL, NULL, NULL),
};

/* ******
 * Thread
 * ******/

static void thread(void * p_1, /* struct LED_Instance* */
        void * p_2_unused, void * p_3_unused)
{
    struct LED_Instance * p_inst = p_1;
    /* NOTE: smf_set_initial() executes the entry state. */
    struct smf_ctx * p_sm = &p_inst->sm;
    smf_set_initial(SMF_CTX(p_sm), &states[init]);

    /* Get the state machine event queue and point to where to put the dequeued
     * event. */
    struct k_msgq * p_msgq = p_inst->msgq.p_sm_evts;
    struct LED_SM_Evt * p_evt = &p_inst->sm_evt;

    bool run = true;

    while(run){
        /* Wait on state machine event. Cache it then run state machine. */
        k_msgq_get(p_msgq, p_evt, K_FOREVER);
        run = smf_run_state(SMF_CTX(p_sm)) == 0;
    }
}

static void start_thread(
        struct LED_Instance     * p_inst,
        struct LED_Instance_Cfg * p_cfg)
{
    struct k_thread  * p_thread = p_cfg->task.sm.p_thread;
    k_thread_stack_t * p_stack  = p_cfg->task.sm.p_stack;
    size_t stack_sz_bytes = p_cfg->task.sm.stack_sz;
    int prio = p_cfg->task.sm.prio;

    /* Start the state machine thread. */
    p_inst->task.sm.p_thread = k_thread_create(
        p_thread,       // ptr to uninitialized struct k_thread
        p_stack,        // ptr to the stack space
        stack_sz_bytes, // stack size in bytes
        thread,         // thread entry function
        p_inst,         // 1st entry point parameter
        NULL,           // 2nd entry point parameter
        NULL,           // 3rd entry point parameter
        prio,           // thread priority 
        0,              // thread options
        K_NO_WAIT);     // scheduling delay
    assert(p_inst->task.sm.p_thread == p_thread);
}

/* *****************************************************************************
 * Public
 */

void LED_Init_Instance(struct LED_Instance_Cfg * p_cfg)
{
    /* Get pointer to instance to configure. */
    struct LED_Instance * p_inst = p_cfg->p_inst;

    init_module();
    init_instance(p_inst);
    config_instance_immediate(p_inst, p_cfg);
    add_instance_to_instances(p_inst);
    start_thread(p_inst, p_cfg);
    q_init_instance_event(p_cfg);
}

void LED_Add_Listener(struct LED_Listener_Cfg * p_cfg)
{
    struct LED_Listener * p_lsnr = p_cfg->p_lsnr;
    init_listener(p_lsnr);
    config_listener(p_lsnr, p_cfg);
    add_listener_for_signal_to_listener_list(p_cfg);
}

void LED_Write_Modes(struct LED_Instance * p_inst, enum LED_Id row, uint8_t val)
{
    if(val > MODE_MAX || row >= k_LED_Id_End) return;

    struct LED_SM_Evt evt = {
            .sig = k_LED_SM_Evt_Sig_Write,
            .data.write.row = row,
            .data.write.val = val
    };

    q_sm_event(p_inst, &evt);
}

#if CONFIG_FKMG_POT_NO_OPTIMIZATIONS
#pragma GCC pop_options
#endif
```
